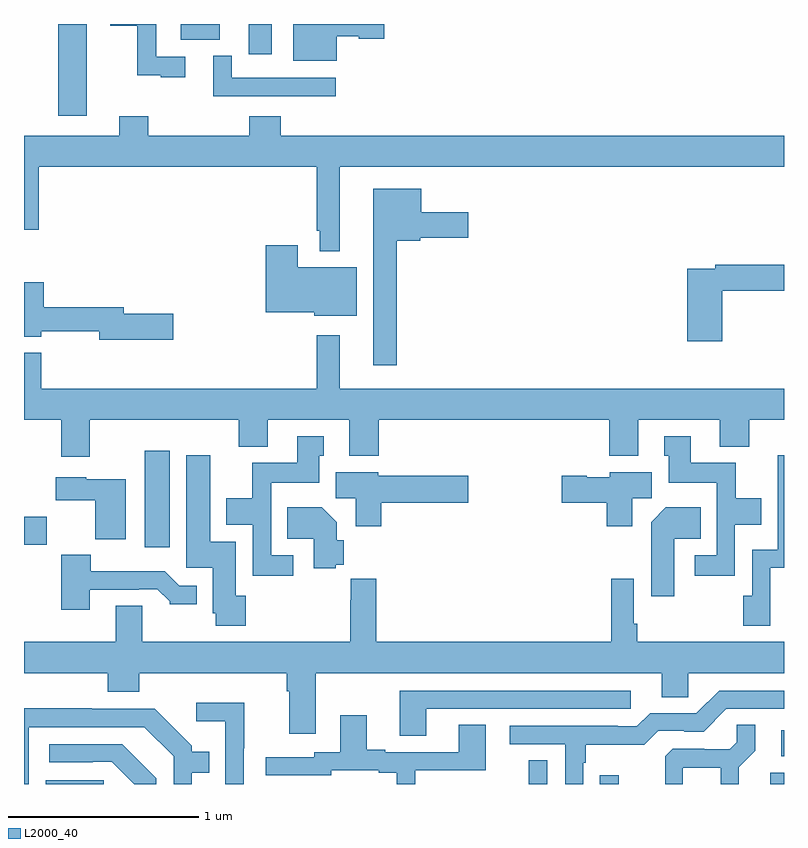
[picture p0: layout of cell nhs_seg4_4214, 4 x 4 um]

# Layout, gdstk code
import gdstk
lib = gdstk.Library(unit=1e-6, precision=1e-09)
def R(c, l, rs):  # rectangles x0, y0, x1, y1
    for r in rs: c.add(gdstk.rectangle(r[:2], r[2:], *l))
def P(c, l, *ps):  # polygons
    for p in ps: c.add(gdstk.Polygon(p, *l))
L2000_40 = (2000, 40)

nhs_seg4_4214 = lib.new_cell('nhs_seg4_4214')
R(nhs_seg4_4214, L2000_40, [(335.114,798.9,335.419,798.921), (337.657,798.9,337.755,799.025), (338.029,798.9,338.13,798.946), (338.927,798.9,339,798.958), (338.985,799.047,339,799.183), (335.636,800.145,335.767,800.653), (335,800.159,335.119,800.306), (335.18,802.416,335.329,802.9), (336.182,802.74,336.304,802.9), (335.825,802.817,336.031,802.9)])
P(nhs_seg4_4214, L2000_40, [(336.646,802.835),(336.762,802.835),(336.762,802.823),(336.895,802.823),(336.895,802.9),(336.416,802.9),(336.416,802.706),(336.646,802.706)],
  [(335.848,802.728),(335.697,802.728),(335.697,802.9),(335.454,802.9),(335.454,802.891),(335.596,802.891),(335.596,802.631),(335.72,802.631),(335.72,802.62),(335.848,802.62)],
  [(336.64,802.617),(336.093,802.617),(336.093,802.732),(335.996,802.732),(335.996,802.521),(336.64,802.521)],
  [(336.661,802.148),(339,802.148),(339,802.312),(336.35,802.312),(336.35,802.414),(336.185,802.414),(336.185,802.312),(335.654,802.312),(335.654,802.414),(335.501,802.414),(335.501,802.312),(335,802.312),(335,801.816),(335.078,801.816),(335.078,802.148),(336.54,802.148),(336.54,801.811),(336.557,801.811),(336.557,801.704),(336.661,801.704)],
  [(336.961,801.758),(337.086,801.758),(337.086,801.776),(337.339,801.776),(337.339,801.91),(337.09,801.91),(337.09,802.033),(336.839,802.033),(336.839,801.105),(336.961,801.105)],
  [(336.751,801.619),(336.442,801.619),(336.442,801.736),(336.272,801.736),(336.272,801.383),(336.528,801.383),(336.528,801.365),(336.751,801.365)],
  [(338.675,801.496),(339,801.496),(339,801.632),(338.638,801.632),(338.638,801.612),(338.492,801.612),(338.492,801.231),(338.675,801.231)],
  [(335.785,801.374),(335.524,801.374),(335.524,801.41),(335.105,801.41),(335.105,801.541),(335,801.541),(335,801.254),(335.092,801.254),(335.092,801.282),(335.396,801.282),(335.396,801.239),(335.785,801.239)],
  [(335.347,800.816),(336.131,800.816),(336.131,800.675),(336.283,800.675),(336.283,800.816),(336.713,800.816),(336.713,800.627),(336.866,800.627),(336.866,800.816),(338.081,800.816),(338.081,800.627),(338.233,800.627),(338.233,800.816),(338.663,800.816),(338.663,800.675),(338.816,800.675),(338.816,800.816),(339,800.816),(339,800.98),(336.661,800.98),(336.661,801.262),(336.54,801.262),(336.54,800.98),(335.09,800.98),(335.09,801.169),(335,801.169),(335,800.816),(335.195,800.816),(335.195,800.622),(335.347,800.622)],
  [(338.742,800.264),(338.881,800.264),(338.881,800.404),(338.745,800.404),(338.745,800.59),(338.509,800.59),(338.509,800.731),(338.369,800.731),(338.369,800.628),(338.393,800.628),(338.393,800.486),(338.646,800.486),(338.646,800.103),(338.529,800.103),(338.529,799.995),(338.742,799.995)],
  [(336.418,800.103),(336.3,800.103),(336.3,800.486),(336.553,800.486),(336.553,800.628),(336.577,800.628),(336.577,800.731),(336.437,800.731),(336.437,800.59),(336.202,800.59),(336.202,800.404),(336.065,800.404),(336.065,800.264),(336.204,800.264),(336.204,799.995),(336.418,799.995)],
  [(336.167,799.89),(336.115,799.89),(336.115,800.176),(335.98,800.176),(335.98,800.629),(335.855,800.629),(335.855,800.037),(335.993,800.037),(335.993,799.8),(336.01,799.8),(336.01,799.734),(336.167,799.734)],
  [(338.928,800.037),(339,800.037),(339,800.629),(338.966,800.629),(338.966,800.134),(338.832,800.134),(338.832,799.89),(338.785,799.89),(338.785,799.734),(338.928,799.734)],
  [(336.881,800.381),(337.339,800.381),(337.339,800.523),(336.864,800.523),(336.864,800.542),(336.641,800.542),(336.641,800.404),(336.746,800.404),(336.746,800.256),(336.881,800.256)],
  [(338.2,800.404),(338.305,800.404),(338.305,800.542),(338.082,800.542),(338.082,800.515),(337.962,800.515),(337.962,800.523),(337.83,800.523),(337.83,800.381),(338.066,800.381),(338.066,800.256),(338.2,800.256)],
  [(335.536,800.503),(335.328,800.503),(335.328,800.515),(335.166,800.515),(335.166,800.393),(335.375,800.393),(335.375,800.189),(335.536,800.189)],
  [(338.422,800.192),(338.561,800.192),(338.561,800.356),(338.378,800.356),(338.3,800.278),(338.3,799.887),(338.422,799.887)],
  [(336.642,800.054),(336.684,800.054),(336.684,800.182),(336.646,800.182),(336.646,800.278),(336.568,800.356),(336.385,800.356),(336.385,800.192),(336.524,800.192),(336.524,800.035),(336.642,800.035)],
  [(335.347,799.923),(335.603,799.923),(335.603,799.926),(335.702,799.926),(335.766,799.862),(335.766,799.847),(335.908,799.847),(335.908,799.944),(335.817,799.944),(335.741,800.02),(335.35,800.02),(335.35,800.107),(335.195,800.107),(335.195,799.818),(335.347,799.818)],
  [(336.535,799.484),(338.357,799.484),(338.357,799.357),(338.496,799.357),(338.496,799.484),(339,799.484),(339,799.648),(338.228,799.648),(338.228,799.744),(338.208,799.744),(338.208,799.981),(338.092,799.981),(338.092,799.648),(336.854,799.648),(336.854,799.981),(336.719,799.981),(336.719,799.868),(336.718,799.868),(336.718,799.648),(335.623,799.648),(335.623,799.838),(335.483,799.838),(335.483,799.648),(335,799.648),(335,799.484),(335.441,799.484),(335.441,799.385),(335.606,799.385),(335.606,799.484),(336.383,799.484),(336.383,799.388),(336.395,799.388),(336.395,799.164),(336.535,799.164)],
  [(337.117,799.296),(338.194,799.296),(338.194,799.392),(336.977,799.392),(336.977,799.153),(337.117,799.153)],
  [(337.944,799.013),(337.957,799.013),(337.957,799.106),(338.264,799.106),(338.337,799.179),(338.476,799.179),(338.476,799.176),(338.577,799.176),(338.697,799.296),(339,799.296),(339,799.392),(338.658,799.392),(338.538,799.272),(338.295,799.272),(338.226,799.203),(338.126,799.203),(338.126,799.206),(337.557,799.206),(337.557,799.11),(337.848,799.11),(337.848,798.9),(337.944,798.9)],
  [(336.156,799.088),(336.159,799.088),(336.159,799.327),(335.907,799.327),(335.907,799.229),(336.06,799.229),(336.06,798.9),(336.156,798.9)],
  [(335.025,799.2),(335.634,799.2),(335.787,799.047),(335.787,798.9),(335.884,798.9),(335.884,798.96),(335.975,798.96),(335.975,799.069),(335.883,799.069),(335.883,799.101),(335.688,799.296),(335.357,799.296),(335.357,799.298),(335,799.298),(335,798.9),(335.025,798.9)],
  [(337.059,798.972),(337.429,798.972),(337.429,799.211),(337.289,799.211),(337.289,799.068),(336.901,799.068),(336.901,799.081),(336.805,799.081),(336.805,799.261),(336.665,799.261),(336.665,799.068),(336.528,799.068),(336.528,799.041),(336.273,799.041),(336.273,798.945),(336.618,798.945),(336.618,798.972),(336.866,798.972),(336.866,798.96),(336.962,798.96),(336.962,798.9),(337.059,798.9)],
  [(338.468,798.986),(338.666,798.986),(338.666,798.9),(338.763,798.9),(338.763,798.989),(338.849,799.075),(338.849,799.211),(338.751,799.211),(338.751,799.12),(338.714,799.083),(338.58,799.083),(338.58,799.086),(338.415,799.086),(338.374,799.045),(338.374,798.9),(338.468,798.9)],
  [(335.697,798.931),(335.518,799.11),(335.133,799.11),(335.133,799.014),(335.363,799.014),(335.363,799.017),(335.463,799.017),(335.58,798.9),(335.697,798.9)])

lib.write_gds('nhs_seg4_4214.gds')
